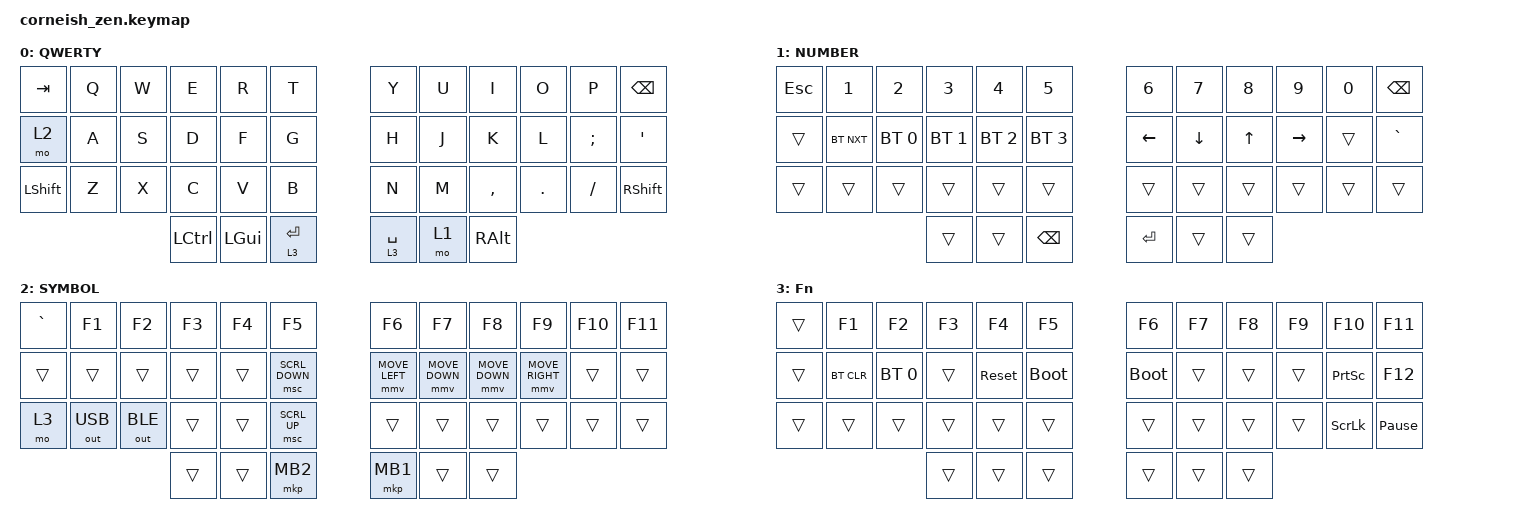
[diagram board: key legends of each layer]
/*
 * Copyright (c) 2020 The ZMK Contributors
 *
 * SPDX-License-Identifier: MIT
 */

#include <behaviors.dtsi>
#include <dt-bindings/zmk/bt.h>
#include <dt-bindings/zmk/keys.h>
#include <dt-bindings/zmk/outputs.h>
#include <dt-bindings/zmk/pointing.h>

/ {
    chosen {
        zmk,matrix_transform = &default_transform;

        // zmk,matrix_transform = &five_column_transform;
    };
};

/ {
    behaviors {
        td0: td0 {
            compatible = "zmk,behavior-tap-dance";
            label = "TD0";
            #binding-cells = <0>;
            bindings = <&kp LEFT_SHIFT>, <&kp CAPS>;
        };
    };

    keymap {
        compatible = "zmk,keymap";

        default_layer {
            display-name = "QWERTY";

            // --------------------------------------------------------------------------------
            // |  TAB |  Q  |  W  |  E  |  R  |  T  |   |  Y  |  U   |  I  |  O  |  P  | BKSP |
            // | CTRL |  A  |  S  |  D  |  F  |  G  |   |  H  |  J   |  K  |  L  |  ;  |  '   | 
            // | SHFT |  Z  |  X  |  C  |  V  |  B  |   |  N  |  M   |  ,  |  .  |  /  | ESC  |
            //                    | GUI | LWR | SPC |   | ENT | RSE  | ALT |

            bindings = <
&kp TAB         &kp Q  &kp W  &kp E      &kp R         &kp T          &kp Y        &kp U  &kp I      &kp O    &kp P     &kp BSPC
&mo 2           &kp A  &kp S  &kp D      &kp F         &kp G          &kp H        &kp J  &kp K      &kp L    &kp SEMI  &kp SQT
&kp LEFT_SHIFT  &kp Z  &kp X  &kp C      &kp V         &kp B          &kp N        &kp M  &kp COMMA  &kp DOT  &kp FSLH  &kp RIGHT_SHIFT
                              &kp LCTRL  &kp LEFT_GUI  &lt 3 ENTER    &lt 3 SPACE  &mo 1  &kp RALT
            >;
        };

        lower_layer {
            display-name = "NUMBER";

            // -----------------------------------------------------------------------------------------
            // |  TAB |  1  |  2  |  3  |  4  |  5  |   |  6  |  7  |  8  |  9  |  0  | BKSP |
            // | BTCLR| BT1 | BT2 | BT3 | BT4 | BT5 |   | LFT | DWN |  UP | RGT |     |      |
            // | SHFT |     |     |     |     |     |   |     |     |     |     |     |      |
            //                    | GUI |     | SPC |   | ENT |     | ALT |

            bindings = <
&kp ESC  &kp N1      &kp N2        &kp N3        &kp N4        &kp N5           &kp N6     &kp N7    &kp N8  &kp N9     &kp N0  &kp BSPC
&trans   &bt BT_NXT  &bt BT_SEL 0  &bt BT_SEL 1  &bt BT_SEL 2  &bt BT_SEL 3     &kp LEFT   &kp DOWN  &kp UP  &kp RIGHT  &trans  &kp GRAVE
&trans   &trans      &trans        &trans        &trans        &trans           &trans     &trans    &trans  &trans     &trans  &trans
                                   &trans        &trans        &kp BACKSPACE    &kp ENTER  &trans    &trans
            >;
        };

        raise_layer {
            display-name = "SYMBOL";

            // -----------------------------------------------------------------------------------------
            // |  TAB |  !  |  @  |  #  |  $  |  %  |   |  ^  |  &  |  *  |  (  |  )  | BKSP |
            // | CTRL |     |     |     |     |     |   |  -  |  =  |  [  |  ]  |  \  |  `   |
            // | SHFT |     |     |     |     |     |   |  _  |  +  |  {  |  }  | "|" |  ~   |
            //                    | GUI |     | SPC |   | ENT |     | ALT |

            bindings = <
&kp GRAVE  &kp F1        &kp F2        &kp F3  &kp F4  &kp F5            &kp F6          &kp F7          &kp F8          &kp F9           &kp F10  &kp F11
&trans     &trans        &trans        &trans  &trans  &msc SCRL_DOWN    &mmv MOVE_LEFT  &mmv MOVE_DOWN  &mmv MOVE_DOWN  &mmv MOVE_RIGHT  &trans   &trans
&mo 3      &out OUT_USB  &out OUT_BLE  &trans  &trans  &msc SCRL_UP      &trans          &trans          &trans          &trans           &trans   &trans
                                       &trans  &trans  &mkp MB2          &mkp MB1        &trans          &trans
            >;
        };

        layer_3 {
            display-name = "Fn";
            bindings = <
&trans  &kp F1      &kp F2        &kp F3  &kp F4      &kp F5         &kp F6       &kp F7  &kp F8  &kp F9  &kp F10          &kp F11
&trans  &bt BT_CLR  &bt BT_SEL 0  &trans  &sys_reset  &bootloader    &bootloader  &trans  &trans  &trans  &kp PRINTSCREEN  &kp F12
&trans  &trans      &trans        &trans  &trans      &trans         &trans       &trans  &trans  &trans  &kp SCROLLLOCK   &kp PAUSE_BREAK
                                  &trans  &trans      &trans         &trans       &trans  &trans
            >;
        };
    };
};
